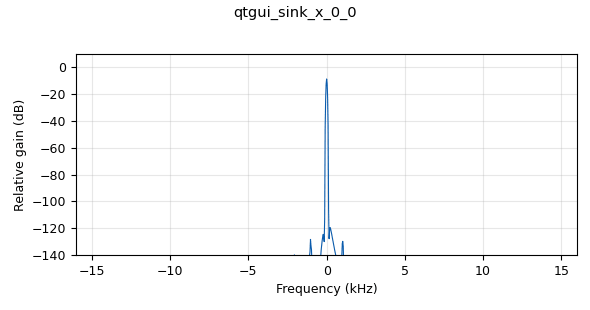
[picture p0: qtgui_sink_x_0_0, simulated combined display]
options:
  parameters:
    generate_options: qt_gui
    id: lesson2
    output_language: python
    title: lesson2
  states: {}

blocks:
- name: samp_rate
  id: variable
  parameters:
    value: '32000'
  states: {}
- name: analog_sig_source_x_0
  id: analog_sig_source_x
  parameters:
    amp: '1'
    freq: '1'
    offset: '0'
    phase: '0'
    samp_rate: samp_rate
    type: complex
    waveform: analog.GR_COS_WAVE
  states: {}
- name: blocks_throttle_0
  id: blocks_throttle
  parameters:
    samples_per_second: 32e3
    type: complex
  states: {}
- name: qtgui_sink_x_0_0
  id: qtgui_sink_x
  parameters:
    bw: samp_rate
    fc: '0'
    fftsize: '1024'
    plotconst: 'False'
    plotfreq: 'False'
    plottime: 'False'
    type: complex
    wintype: firdes.WIN_BLACKMAN_hARRIS
  states: {}
- name: qtgui_time_sink_x_0
  id: qtgui_time_sink_x
  parameters:
    size: '128'
    srate: samp_rate
    type: complex
  states: {state: disabled}

connections:
- [analog_sig_source_x_0, '0', blocks_throttle_0, '0']
- [blocks_throttle_0, '0', qtgui_sink_x_0_0, '0']
- [blocks_throttle_0, '0', qtgui_time_sink_x_0, '0']

metadata:
  file_format: 1
